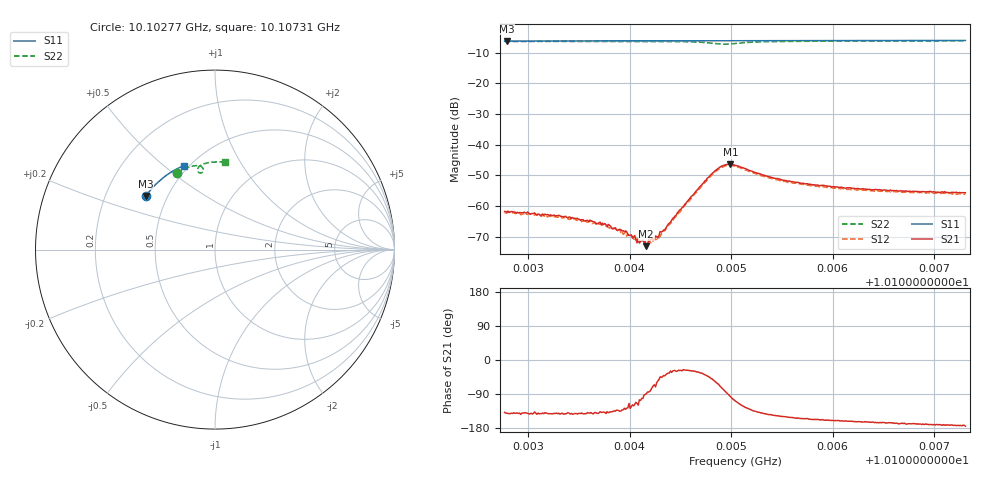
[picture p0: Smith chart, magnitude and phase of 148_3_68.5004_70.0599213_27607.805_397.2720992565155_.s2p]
#  HZ  S  RI  R  50.00
! Rohde & Schwarz Vector Network Analyzer
! Rohde-Schwarz,ZNB20-2Port,1311601062101988,3.16
! Created: UTC 3/20/2024, 5:10:19 PM
! freq[Hz]  re:S11  im:S11  re:S21  im:S21  re:S12  im:S12  re:S22  im:S22
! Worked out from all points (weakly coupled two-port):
!   401 points, 10.10277 GHz to 10.10731 GHz, reference 50 ohm
!   highest |S21| = -46.41 dB at 10.10499 GHz (marker M1); lowest = -73.0 dB at 10.10416 GHz (marker M2)
!   lowest |S11| = -6.2 dB at 10.10279 GHz (marker M3), VSWR 2.90, Z = 19 + j14.9 ohm
!   |S11| at or under -10 dB: nowhere
!   |S22| runs from -7.3 to -6.2 dB; largest |S21 - S12| = 0.0005
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1.0102767e10  -0.3862 0.2971  -0.000607 -0.000548  -0.000546 -0.000561  -0.2132 0.4293
1.010279e10  -0.3853 0.2983  -0.000612 -0.000516  -0.000553 -0.000541  -0.2123 0.4301
1.0103278e10  -0.3675 0.3221  -0.000539 -0.000446  -0.00047 -0.000467  -0.1832 0.4445
1.0103528e10  -0.358 0.3338  -0.000462 -0.000388  -0.000386 -0.000404  -0.1675 0.4512
1.0103687e10  -0.3515 0.3412  -0.000405 -0.000327  -0.000368 -0.000381  -0.1573 0.4552
1.0103777e10  -0.3479 0.3453  -0.000338 -0.000321  -0.000317 -0.000334  -0.1512 0.4573
1.010388e10  -0.3438 0.35  -0.000269 -0.000293  -0.000253 -0.000321  -0.1444 0.4597
1.0103948e10  -0.3409 0.3528  -0.000231 -0.000304  -0.000205 -0.000296  -0.1395 0.4611
1.0104084e10  -0.3352 0.3589  -0.000139 -0.000253  -0.000108 -0.000256  -0.1299 0.4638
1.0104163e10  -0.3318 0.3623  1.55e-06 -0.000223  1.8e-05 -0.000242  -0.1238 0.4652
1.0104198e10  -0.3302 0.3636  3.36e-05 -0.000266  6.03e-05 -0.000255  -0.1212 0.4657
1.0104288e10  -0.3264 0.3676  0.000208 -0.000261  0.000213 -0.000217  -0.1139 0.4671
1.0104345e10  -0.3239 0.3701  0.000307 -0.000275  0.000328 -0.000223  -0.1091 0.4676
1.0104493e10  -0.3173 0.3761  0.000762 -0.000404  0.000739 -0.000295  -0.0955 0.4679
1.0104788e10  -0.3037 0.3879  0.00216 -0.00221  0.00222 -0.00192  -0.0654 0.449
1.0104902e10  -0.2986 0.3922  0.00137 -0.00423  0.0017 -0.0039  -0.0711 0.4296
1.0104992e10  -0.2945 0.3957  -0.000554 -0.00475  -0.000116 -0.00461  -0.0884 0.4286
1.0105038e10  -0.2923 0.3973  -0.00139 -0.00443  -0.000935 -0.00436  -0.0943 0.4346
1.0105412e10  -0.2746 0.4113  -0.00239 -0.00163  -0.00216 -0.00178  -0.0762 0.472
1.0105799e10  -0.2552 0.4247  -0.00204 -0.000884  -0.00187 -0.00105  -0.0463 0.4822
1.0106559e10  -0.2154 0.448  -0.00173 -0.000455  -0.00164 -0.00056  0.00625 0.4882
1.0107309e10  -0.1744 0.4672  -0.00165 -0.000157  -0.00155 -0.000366  0.0557 0.4872
